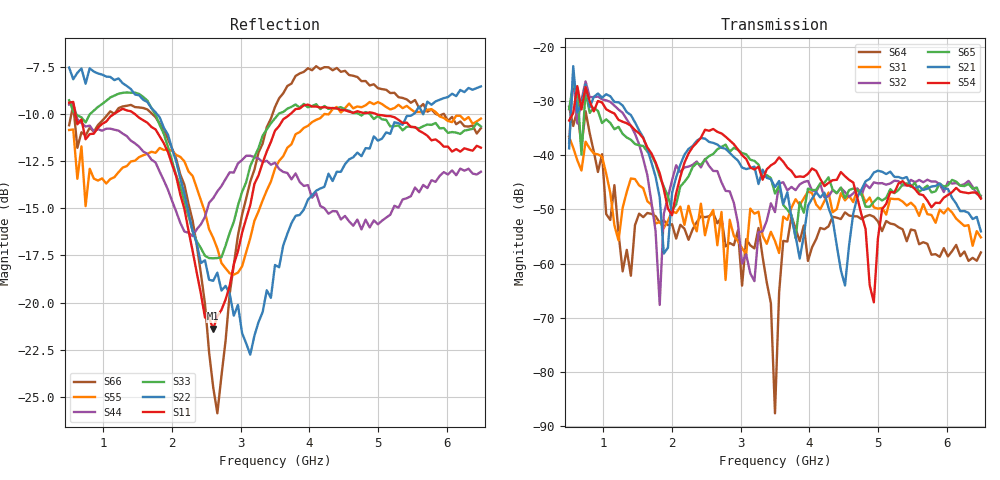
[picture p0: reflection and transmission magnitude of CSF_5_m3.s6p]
!Keysight Technologies,M9804A,MY58100912,A.14.10.03
!Date: Thursday, April 27, 2023 10:28:33
!Correction: S11(C  6-Port  )
!S12(C  6-Port  )
!S13(C  6-Port  )
!S14(C  6-Port  )
!S15(C  6-Port  )
!S16(C  6-Port  )
!S21(C  6-Port  )
!S22(C  6-Port  )
!S23(C  6-Port  )
!S24(C  6-Port  )
!S25(C  6-Port  )
!S26(C  6-Port  )
!S31(C  6-Port  )
!S32(C  6-Port  )
!S33(C  6-Port  )
!S34(C  6-Port  )
!S35(C  6-Port  )
!S36(C  6-Port  )
!S41(C  6-Port  )
!S42(C  6-Port  )
!S43(C  6-Port  )
!S44(C  6-Port  )
!S45(C  6-Port  )
!S46(C  6-Port  )
!S51(C  6-Port  )
!S52(C  6-Port  )
!S53(C  6-Port  )
!S54(C  6-Port  )
!S55(C  6-Port  )
!S56(C  6-Port  )
!S61(C  6-Port  )
!S62(C  6-Port  )
!S63(C  6-Port  )
!S64(C  6-Port  )
!S65(C  6-Port  )
!S66(C  6-Port  )
!S6P File: Measurement: :
# Hz S  RI  R 50
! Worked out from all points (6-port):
!   101 points, 500 MHz to 6.5 GHz, reference 50 ohm
!   strongest paths, dB at 500 MHz, 2 GHz, 3.5 GHz, 5 GHz, 6.5 GHz:
!     S54: -33.6, -51.1, -41.4, -55.3, -48.0
!     S21: -38.8, -47.0, -45.9, -42.9, -54.1
!     S65: -31.5, -50.2, -47.1, -47.9, -47.8
!     S32: -37.8, -44.6, -50.5, -45.2, -47.5
!     S31: -36.6, -50.4, -55.9, -49.9, -55.2
!     S64: -31.1, -52.7, -87.6, -52.2, -58.0
!   lowest |S11| = -21.4 dB at 2.6 GHz (marker M1), VSWR 1.19, Z = 42.5 + j2.29 ohm
!   |S11| at or under -10 dB: 593.7 MHz to 1.143 GHz (549.7 MHz wide, 63.3 % of centre); 1.466 GHz to 3.716 GHz (2.249 GHz wide, 86.8 % of centre); 4.988 GHz to end of sweep
